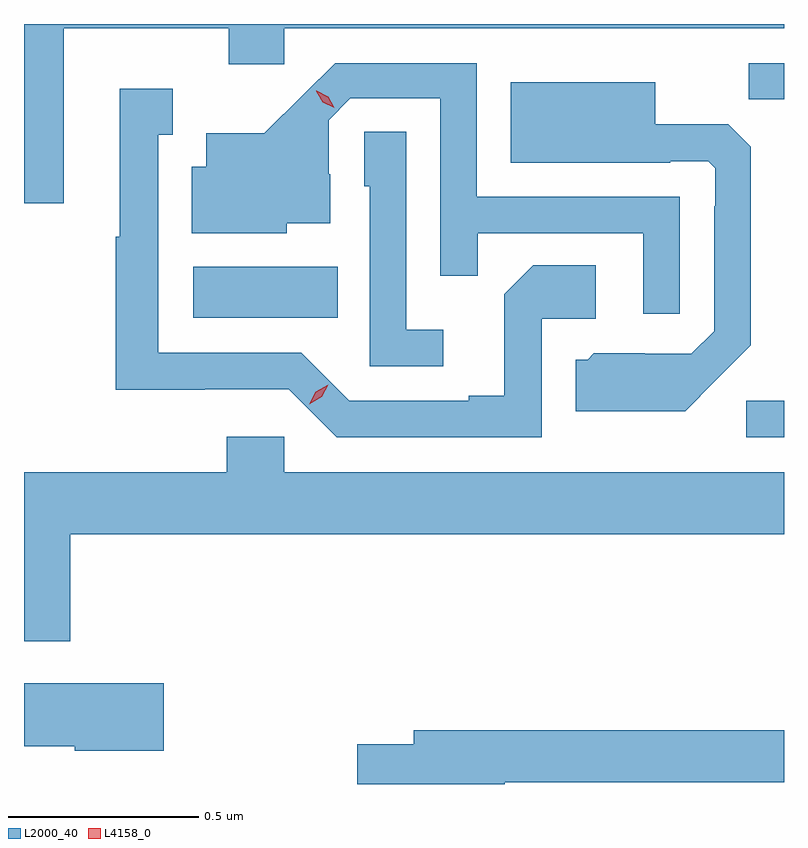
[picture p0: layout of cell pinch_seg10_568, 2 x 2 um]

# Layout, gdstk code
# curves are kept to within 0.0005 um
import gdstk
lib = gdstk.Library(unit=1e-6, precision=1e-09)
def R(c, l, rs):  # rectangles x0, y0, x1, y1
    for r in rs: c.add(gdstk.rectangle(r[:2], r[2:], *l))
def P(c, l, *ps):  # polygons
    for p in ps: c.add(gdstk.Polygon(p, *l))
L2000_40 = (2000, 40)
L4158_0 = (4158, 0)

pinch_seg10_568 = lib.new_cell('pinch_seg10_568')
R(pinch_seg10_568, L2000_40, [(390.357,1267.272,390.457,1267.368), (388.902,1267.586,389.282,1267.72), (390.364,1268.161,390.457,1268.256)])
P(pinch_seg10_568, L2000_40, [(388.561,1268.348),(388.996,1268.348),(388.996,1268.253),(389.142,1268.253),(389.142,1268.348),(390.457,1268.348),(390.457,1268.359),(388.457,1268.359),(388.457,1267.887),(388.561,1267.887)],
  [(390.183,1267.905),(389.649,1267.905),(389.649,1268.256),(389.276,1268.256),(389.089,1268.071),(388.937,1268.071),(388.937,1267.984),(388.898,1267.984),(388.898,1267.808),(389.148,1267.808),(389.148,1267.835),(389.263,1267.835),(389.263,1267.964),(389.259,1267.964),(389.259,1268.106),(389.316,1268.163),(389.553,1268.163),(389.553,1267.696),(389.651,1267.696),(389.651,1267.809),(390.087,1267.809),(390.087,1267.596),(390.183,1267.596)],
  [(390.277,1267.421),(390.369,1267.514),(390.369,1268.036),(390.31,1268.095),(390.118,1268.095),(390.118,1268.206),(389.738,1268.206),(389.738,1267.994),(390.158,1267.994),(390.158,1267.998),(390.258,1267.998),(390.276,1267.98),(390.276,1267.88),(390.273,1267.88),(390.273,1267.551),(390.213,1267.491),(390.09,1267.491),(390.09,1267.492),(389.956,1267.492),(389.94,1267.476),(389.909,1267.476),(389.909,1267.34),(390.197,1267.34)],
  [(389.82,1267.584),(389.962,1267.584),(389.962,1267.724),(389.797,1267.724),(389.721,1267.648),(389.721,1267.381),(389.627,1267.381),(389.627,1267.368),(389.313,1267.368),(389.187,1267.494),(388.81,1267.494),(388.81,1268.067),(388.849,1268.067),(388.849,1268.188),(388.709,1268.188),(388.709,1267.799),(388.699,1267.799),(388.699,1267.397),(388.932,1267.397),(388.932,1267.398),(389.154,1267.398),(389.28,1267.272),(389.82,1267.272)],
  [(389.56,1267.555),(389.463,1267.555),(389.463,1268.075),(389.352,1268.075),(389.352,1267.932),(389.367,1267.932),(389.367,1267.458),(389.56,1267.458)],
  [(388.579,1267.016),(390.457,1267.016),(390.457,1267.18),(389.142,1267.18),(389.142,1267.273),(388.991,1267.273),(388.991,1267.18),(388.457,1267.18),(388.457,1266.735),(388.579,1266.735)],
  [(388.825,1266.624),(388.457,1266.624),(388.457,1266.458),(388.59,1266.458),(388.59,1266.446),(388.825,1266.446)],
  [(389.722,1266.364),(390.457,1266.364),(390.457,1266.5),(389.483,1266.5),(389.483,1266.464),(389.334,1266.464),(389.334,1266.359),(389.722,1266.359)])
P(pinch_seg10_568, L4158_0, [(389.274,1268.138),(389.243,1268.153),(389.226,1268.182),(389.226,1268.183),(389.227,1268.183),(389.257,1268.167),(389.274,1268.138),(389.274,1268.138)],
  [(389.208,1267.359),(389.208,1267.359),(389.225,1267.391),(389.257,1267.41),(389.257,1267.41),(389.257,1267.41),(389.24,1267.378),(389.208,1267.359)])

lib.write_gds('pinch_seg10_568.gds')
